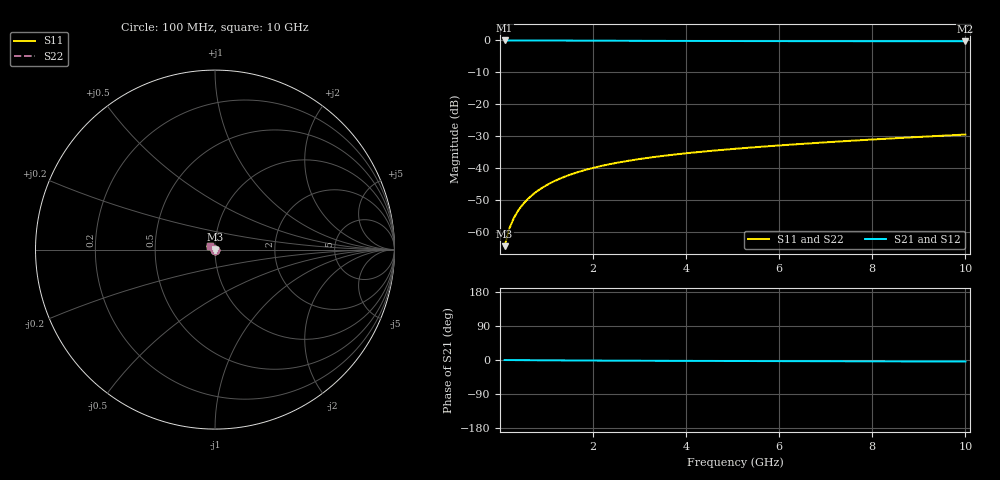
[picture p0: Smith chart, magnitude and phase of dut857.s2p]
! Touchstone file exported from HFSS 2024.1.0
!  File:  C:/UserFiles/LocalFiles/RDL_TSV_Batchsim/temp_TSV1_857_1779881478.aedt
!  Generated:  07:37:22 PM May 27, 2026
!  Design:  TSV1
!  Project:  temp_TSV1_857_1779881478
!  Setup:  Setup1
!  Solution:  Sweep
! Variables:
!  dtsv = 7.12um
!  hbump = 3um
!  htsv = 56.58um
!  lrdl = 252.1521522um
!  p = 40
!  p1 = 59.23um
!  t = 500um
!  trdl = 3um
!  wrdl = 24.89489489um
# GHz S MA R 50.000000
! Terminal data exported
! Port[1] = TSV22_T1
! Port[2] = TSV22_T2
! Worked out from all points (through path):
!   100 points, 100 MHz to 10 GHz, reference 50 ohm
!   highest |S21| = 0.00 dB at 100 MHz (marker M1); lowest = -0.3 dB at 10 GHz (marker M2)
!   lowest |S11| = -64.6 dB at 100 MHz (marker M3), VSWR 1.00, Z = 50 - j0.0556 ohm
!   |S11| at or under -10 dB: start of sweep to end of sweep
!   |S22| runs from -64.6 to -29.5 dB; largest |S21 - S12| = 3.2e-15
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0.1  0.000592 -69.7  0.9997 -0.1  0.9997 -0.1  0.000592 -69.7
! Gamma 0 0 0 0
! Port Impedance 50 0 50 0
0.2  0.001114 -83.4  0.9997 -0.2  0.9997 -0.2  0.001114 -83.4
0.3  0.00165 -90.0  0.9995 -0.3  0.9995 -0.3  0.00165 -90.0
0.4  0.002188 -94.6  0.9993 -0.3  0.9993 -0.3  0.002188 -94.6
0.5  0.002726 -98.4  0.9991 -0.4  0.9991 -0.4  0.002726 -98.4
0.6  0.003261 -101.8  0.9988 -0.5  0.9988 -0.5  0.003261 -101.8
0.7  0.003793 -104.9  0.9985 -0.6  0.9985 -0.6  0.003793 -104.9
0.8  0.004319 -107.9  0.9981 -0.7  0.9981 -0.7  0.004319 -107.9
0.9  0.004839 -110.7  0.9977 -0.8  0.9977 -0.8  0.004839 -110.7
1.1  0.005859 -116.0  0.9968 -0.9  0.9968 -0.9  0.005859 -116.0
1.4  0.007325 -123.5  0.9953 -1.1  0.9953 -1.1  0.007325 -123.5
1.6  0.008257 -128.2  0.9943 -1.3  0.9943 -1.3  0.008257 -128.2
1.8  0.009151 -132.8  0.9931 -1.4  0.9931 -1.4  0.009151 -132.8
2.1  0.01042 -139.2  0.9914 -1.5  0.9914 -1.5  0.01042 -139.2
2.5  0.01199 -147.2  0.9892 -1.7  0.9892 -1.7  0.01199 -147.2
2.9  0.01344 -154.5  0.9871 -1.9  0.9871 -1.9  0.01344 -154.5
3.4  0.01511 -162.8  0.9846 -2.1  0.9846 -2.1  0.01511 -162.8
4.2  0.01755 -174.4  0.9814 -2.4  0.9814 -2.4  0.01755 -174.4
5.1  0.02009 174.7  0.9785 -2.7  0.9785 -2.7  0.02009 174.7
6.7  0.0244 159.6  0.975 -3.1  0.975 -3.1  0.0244 159.6
8.4  0.02897 147.7  0.9727 -3.7  0.9727 -3.7  0.02898 147.7
10  0.03338 139.2  0.971 -4.2  0.971 -4.2  0.03339 139.2
